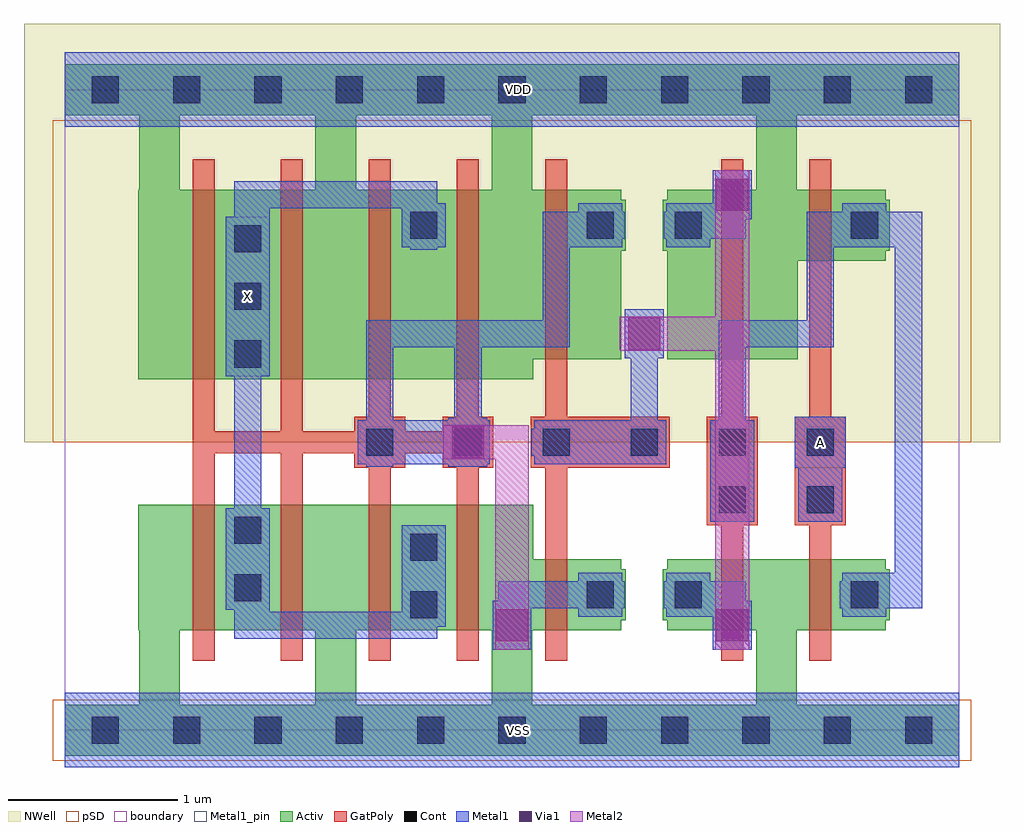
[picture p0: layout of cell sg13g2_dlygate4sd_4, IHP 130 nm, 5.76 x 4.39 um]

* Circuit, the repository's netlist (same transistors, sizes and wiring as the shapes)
.SUBCKT sg13g2_dlygate4sd_4 X A VDD VSS
*.PININFO A:I X:O VDD:B VSS:B
MP3 X net3 VDD VDD sg13_lv_pmos w=4.48u l=130.00n ng=4
MP2 net3 net2 VDD VDD sg13_lv_pmos w=1.000u l=130.00n ng=1
MP1 net2 net1 VDD VDD sg13_lv_pmos w=1.000u l=130.00n ng=1
MP0 net1 A VDD VDD sg13_lv_pmos w=420.00n l=130.00n ng=1
MN3 X net3 VSS VSS sg13_lv_nmos w=2.96u l=130.00n ng=4
MN2 net3 net2 VSS VSS sg13_lv_nmos w=420.00n l=130.00n ng=1
MN1 net2 net1 VSS VSS sg13_lv_nmos w=420.00n l=130.00n ng=1
MN0 net1 A VSS VSS sg13_lv_nmos w=420.00n l=130.00n ng=1
.ENDS

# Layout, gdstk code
import gdstk
lib = gdstk.Library(unit=1e-6, precision=1e-09)
def R(c, l, rs):  # rectangles x0, y0, x1, y1
    for r in rs: c.add(gdstk.rectangle(r[:2], r[2:], *l))
def A(c, l, x, y, w, h, nx, ny, dx, dy):  # array of equal rectangles
    R(c, l, [(x+i*dx, y+j*dy, x+i*dx+w, y+j*dy+h) for i in range(nx) for j in range(ny)])
def P(c, l, *ps):  # polygons
    for p in ps: c.add(gdstk.Polygon(p, *l))
Activ = (1, 0)
GatPoly = (5, 0)
Cont = (6, 0)
Metal1 = (8, 0)
Metal1_pin = (8, 2)
Metal2 = (10, 0)
pSD = (14, 0)
Via1 = (19, 0)
NWell = (31, 0)
boundary = (189, 4)

sg13g2_dlygate4sd_4 = lib.new_cell('sg13g2_dlygate4sd_4')
P(sg13g2_dlygate4sd_4, Activ, [(1.72,0.59),(1.72,1.33),(0.68,1.33),(0.68,0.59),(0.68,1.33),(0.435,1.33),(0.435,0.59),(0.44,0.59),(0.44,0.15),(0,0.15),(0,-0.15),(0.68,-0.15),(0.68,0.59),(1.48,0.59),(1.48,0.15),(0.68,0.15),(0.68,-0.15),(1.72,-0.15),(1.72,0.59),(2.52,0.59),(2.52,0.15),(1.72,0.15),(1.72,-0.15),(5.28,-0.15),(5.28,0.15),(4.32,0.15),(4.32,0.59),(4.845,0.59),(4.845,0.65),(4.87,0.65),(4.87,0.95),(4.845,0.95),(4.845,1.01),(3.555,1.01),(3.555,0.95),(3.53,0.95),(3.53,0.65),(3.555,0.65),(3.555,0.59),(4.08,0.59),(4.08,0.15),(2.76,0.15),(2.76,0.59),(3.285,0.59),(3.285,0.65),(3.31,0.65),(3.31,0.95),(3.285,0.95),(3.285,1.01),(2.765,1.01),(2.765,1.33),(1.72,1.33)],
  [(1.72,3.63),(1.72,3.93),(0.68,3.93),(0.68,3.63),(0.68,3.93),(0,3.93),(0,3.63),(0.44,3.63),(0.44,3.19),(0.435,3.19),(0.435,2.07),(0.68,2.07),(0.68,3.63),(1.48,3.63),(1.48,3.19),(0.68,3.19),(0.68,2.07),(1.72,2.07),(1.72,3.63),(2.52,3.63),(2.52,3.19),(1.72,3.19),(1.72,2.07),(2.765,2.07),(2.765,2.19),(3.285,2.19),(3.285,2.83),(3.31,2.83),(3.31,3.13),(3.285,3.13),(3.285,3.19),(2.76,3.19),(2.76,3.63),(4.08,3.63),(4.08,3.19),(3.555,3.19),(3.555,3.13),(3.53,3.13),(3.53,2.83),(3.555,2.83),(3.555,2.19),(4.325,2.19),(4.325,2.77),(4.845,2.77),(4.845,2.83),(4.87,2.83),(4.87,3.13),(4.845,3.13),(4.845,3.19),(4.32,3.19),(4.32,3.63),(5.28,3.63),(5.28,3.93),(1.72,3.93)])
P(sg13g2_dlygate4sd_4, GatPoly, [(0.755,0.41),(0.885,0.41),(0.885,1.635),(1.275,1.635),(1.275,0.41),(1.405,0.41),(1.405,1.635),(1.71,1.635),(1.71,1.55),(1.795,1.55),(1.795,0.41),(1.925,0.41),(1.925,1.55),(2.01,1.55),(2.01,1.635),(2.23,1.635),(2.23,1.55),(2.315,1.55),(2.315,0.41),(2.445,0.41),(2.445,1.55),(2.53,1.55),(2.53,1.85),(2.445,1.85),(2.445,3.37),(2.315,3.37),(2.315,1.85),(2.23,1.85),(2.23,1.765),(2.01,1.765),(2.01,1.85),(1.925,1.85),(1.925,3.37),(1.795,3.37),(1.795,1.85),(1.71,1.85),(1.71,1.765),(1.405,1.765),(1.405,3.37),(1.275,3.37),(1.275,1.765),(0.885,1.765),(0.885,3.37),(0.755,3.37)],
  [(2.75,1.55),(2.835,1.55),(2.835,0.41),(2.965,0.41),(2.965,1.55),(3.57,1.55),(3.57,1.85),(2.965,1.85),(2.965,3.37),(2.835,3.37),(2.835,1.85),(2.75,1.85)],
  [(3.79,1.21),(3.875,1.21),(3.875,0.41),(4.005,0.41),(4.005,1.21),(4.09,1.21),(4.09,1.85),(4.005,1.85),(4.005,3.37),(3.875,3.37),(3.875,1.85),(3.79,1.85)],
  [(4.31,1.21),(4.395,1.21),(4.395,0.41),(4.525,0.41),(4.525,1.21),(4.61,1.21),(4.61,1.85),(4.525,1.85),(4.525,3.37),(4.395,3.37),(4.395,1.85),(4.31,1.85)])
A(sg13g2_dlygate4sd_4, Cont, 0.16, -0.08, 0.16, 0.16, 11, 2, 0.48, 3.78)
A(sg13g2_dlygate4sd_4, Cont, 1.78, 1.62, 0.16, 0.16, 6, 1, 0.52, 0)
A(sg13g2_dlygate4sd_4, Cont, 1, 2.14, 0.16, 0.16, 1, 3, 0, 0.34)
R(sg13g2_dlygate4sd_4, Cont, [(2.04,0.66,2.2,0.82), (3.08,0.72,3.24,0.88), (3.6,0.72,3.76,0.88), (4.64,0.72,4.8,0.88), (1,0.76,1.16,0.92), (2.04,1,2.2,1.16), (1,1.1,1.16,1.26), (3.86,1.28,4.02,1.44), (4.38,1.28,4.54,1.44), (2.04,2.9,2.2,3.06), (3.08,2.9,3.24,3.06), (3.6,2.9,3.76,3.06), (4.64,2.9,4.8,3.06)])
R(sg13g2_dlygate4sd_4, Metal1, [(0,-0.22,5.28,0.22), (0,3.56,5.28,4)])
P(sg13g2_dlygate4sd_4, Metal1, [(0.95,0.71),(1,0.71),(1,0.54),(2.2,0.54),(2.2,0.61),(2.25,0.61),(2.25,1.21),(1.99,1.21),(1.99,0.7),(1.21,0.7),(1.21,1.31),(1.16,1.31),(1.16,2.09),(1.21,2.09),(1.21,3.08),(1.99,3.08),(1.99,2.85),(2.04,2.85),(2.04,2.835),(2.2,2.835),(2.2,2.85),(2.25,2.85),(2.25,3.11),(2.2,3.11),(2.2,3.24),(1,3.24),(1,3.03),(0.95,3.03),(0.95,2.09),(1,2.09),(1,1.31),(0.95,1.31)],
  [(1.78,1.83),(1.73,1.83),(1.73,1.57),(1.78,1.57),(1.78,1.555),(1.94,1.555),(1.94,1.57),(2.265,1.57),(2.265,1.555),(2.495,1.555),(2.495,1.57),(2.51,1.57),(2.51,1.83),(1.78,1.83),(1.94,1.83),(1.94,2.26),(2.3,2.26),(2.3,1.845),(2.265,1.845),(2.265,1.83),(2.495,1.83),(2.495,1.845),(2.46,1.845),(2.46,2.26),(2.98,2.26),(2.98,2.85),(3.29,2.85),(3.29,2.9),(3.305,2.9),(3.305,3.06),(3.29,3.06),(3.29,3.11),(3.03,3.11),(3.03,3.06),(2.82,3.06),(2.82,2.42),(1.78,2.42)],
  [(2.525,0.475),(2.755,0.475),(2.755,0.72),(3.03,0.72),(3.03,0.67),(3.29,0.67),(3.29,0.72),(3.305,0.72),(3.305,0.88),(3.29,0.88),(3.29,0.93),(3.03,0.93),(3.03,0.88),(2.56,0.88),(2.56,0.765),(2.525,0.765)],
  [(2.755,1.62),(2.77,1.62),(2.77,1.57),(3.55,1.57),(3.55,1.83),(3.5,1.83),(3.5,2.195),(3.535,2.195),(3.535,2.485),(3.305,2.485),(3.305,2.195),(3.34,2.195),(3.34,1.83),(2.77,1.83),(2.77,1.78),(2.755,1.78)],
  [(3.535,0.72),(3.55,0.72),(3.55,0.67),(3.825,0.67),(3.825,0.475),(4.055,0.475),(4.055,0.765),(4.02,0.765),(4.02,0.88),(3.81,0.88),(3.81,0.93),(3.55,0.93),(3.55,0.88),(3.535,0.88)],
  [(3.535,2.9),(3.55,2.9),(3.55,2.85),(3.81,2.85),(3.81,2.9),(4.02,2.9),(4.02,3.015),(4.055,3.015),(4.055,3.305),(3.825,3.305),(3.825,3.11),(3.55,3.11),(3.55,3.06),(3.535,3.06)],
  [(3.81,1.23),(4.07,1.23),(4.07,1.83),(4.02,1.83),(4.02,2.26),(4.54,2.26),(4.54,2.85),(4.9,2.85),(4.9,0.93),(4.59,0.93),(4.59,0.88),(4.575,0.88),(4.575,0.72),(4.59,0.72),(4.59,0.67),(4.85,0.67),(4.85,0.72),(5.06,0.72),(5.06,3.06),(4.85,3.06),(4.85,3.11),(4.59,3.11),(4.59,3.06),(4.38,3.06),(4.38,2.42),(3.86,2.42),(3.86,1.83),(3.81,1.83)],
  [(4.31,1.55),(4.33,1.55),(4.33,1.23),(4.59,1.23),(4.59,1.55),(4.61,1.55),(4.61,1.85),(4.31,1.85)])
R(sg13g2_dlygate4sd_4, Metal1_pin, [(0,-0.22,5.28,0.22), (4.31,1.55,4.61,1.85), (0.95,2.09,1.21,3.03), (0,3.56,5.28,4)])
P(sg13g2_dlygate4sd_4, Metal2, [(2.235,1.6),(2.54,1.6),(2.54,0.475),(2.74,0.475),(2.74,1.8),(2.235,1.8)],
  [(3.275,2.24),(3.84,2.24),(3.84,0.475),(4.04,0.475),(4.04,3.305),(3.84,3.305),(3.84,2.44),(3.275,2.44)])
R(sg13g2_dlygate4sd_4, pSD, [(-0.07,-0.18,5.35,0.18), (-0.07,1.7,5.35,3.6)])
R(sg13g2_dlygate4sd_4, Via1, [(2.545,0.525,2.735,0.715), (3.845,0.525,4.035,0.715), (2.285,1.605,2.475,1.795), (3.325,2.245,3.515,2.435), (3.845,3.065,4.035,3.255)])
R(sg13g2_dlygate4sd_4, NWell, [(-0.24,1.7,5.52,4.17)])
R(sg13g2_dlygate4sd_4, boundary, [(0,0,5.28,3.78)])
sg13g2_dlygate4sd_4.add(gdstk.Label('X', (1.08,2.56), layer=8, texttype=25))
sg13g2_dlygate4sd_4.add(gdstk.Label('A', (4.46,1.7), layer=8, texttype=25))
sg13g2_dlygate4sd_4.add(gdstk.Label('VSS', (2.68,0), layer=8, texttype=25))
sg13g2_dlygate4sd_4.add(gdstk.Label('VDD', (2.68,3.78), layer=8, texttype=25))

lib.write_gds('sg13g2_dlygate4sd_4.gds')
